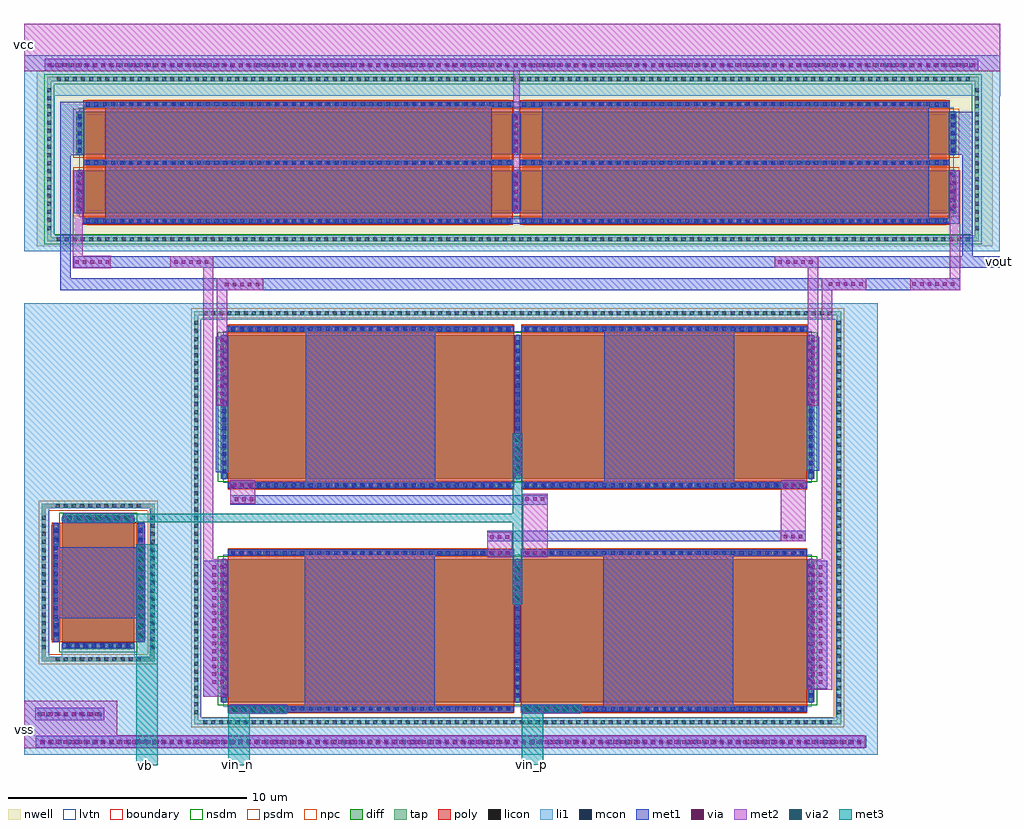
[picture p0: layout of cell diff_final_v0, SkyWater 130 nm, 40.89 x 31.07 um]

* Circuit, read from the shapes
.subckt diff_final_v0 vb vcc vin_n vin_p vout vss
XM1 n1 vb vss vss sky130_fd_pr__nfet_01v8 w=3 l=5
XM2 n1 vin_n vout vss sky130_fd_pr__nfet_01v8_lvt w=6 l=12 m=2
XM3 n1 vin_p n2 vss sky130_fd_pr__nfet_01v8_lvt w=6 l=12 m=2
XM4 vcc n2 vout vcc sky130_fd_pr__pfet_01v8_lvt w=1.8 l=18 m=2
XM5 vcc n2 n2 vcc sky130_fd_pr__pfet_01v8_lvt w=1.8 l=18 m=2
.ends

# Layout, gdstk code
from math import pi, radians
import gdstk
lib = gdstk.Library(unit=1e-6, precision=1e-09)
def R(c, l, rs):  # rectangles x0, y0, x1, y1
    for r in rs: c.add(gdstk.rectangle(r[:2], r[2:], *l))
def A(c, l, x, y, w, h, nx, ny, dx, dy):  # array of equal rectangles
    R(c, l, [(x+i*dx, y+j*dy, x+i*dx+w, y+j*dy+h) for i in range(nx) for j in range(ny)])
nwell = (64, 20)
diff = (65, 20)
tap = (65, 44)
poly = (66, 20)
licon = (66, 44)
li1 = (67, 20)
mcon = (67, 44)
met1 = (68, 20)
via = (68, 44)
met2 = (69, 20)
via2 = (69, 44)
met3 = (70, 20)
nsdm = (93, 44)
psdm = (94, 20)
npc = (95, 20)
lvtn = (125, 44)
boundary = (235, 4)

sky130_fd_pr__nfet_01v8_ = lib.new_cell('sky130_fd_pr__nfet_01v8_lvt_59CFV9')
R(sky130_fd_pr__nfet_01v8_, diff, [(-6.29,-3,6.29,3)])
R(sky130_fd_pr__nfet_01v8_, poly, [(-6,-3.44,6,3.44)])
A(sky130_fd_pr__nfet_01v8_, licon, -5.865, -3.36, 0.17, 0.17, 35, 2, 0.34, 6.55)
A(sky130_fd_pr__nfet_01v8_, licon, -6.23, -2.805, 0.17, 0.17, 1, 17, 0, 0.34)
A(sky130_fd_pr__nfet_01v8_, licon, 6.06, -2.805, 0.17, 0.17, 1, 17, 0, 0.34)
R(sky130_fd_pr__nfet_01v8_, li1, [(-6,-3.36,6,-3.19), (-6.23,-3.02,-6.06,3.02), (6.06,-3.02,6.23,3.02), (-6,3.19,6,3.36)])
A(sky130_fd_pr__nfet_01v8_, mcon, -5.845, -3.36, 0.17, 0.17, 33, 2, 0.36, 6.55)
A(sky130_fd_pr__nfet_01v8_, mcon, -6.23, -2.785, 0.17, 0.17, 1, 16, 0, 0.36)
A(sky130_fd_pr__nfet_01v8_, mcon, 6.06, -2.785, 0.17, 0.17, 1, 16, 0, 0.36)
R(sky130_fd_pr__nfet_01v8_, met1, [(-5.98,-3.39,5.98,-3.16), (-6.26,-3,-6.03,3), (6.03,-3,6.26,3), (-5.98,3.16,5.98,3.39)])
R(sky130_fd_pr__nfet_01v8_, nsdm, [(-6.415,-3.125,6.415,3.125)])
R(sky130_fd_pr__nfet_01v8_, npc, [(-5.965,-3.46,5.965,-3.09), (-5.965,3.09,5.965,3.46)])
R(sky130_fd_pr__nfet_01v8_, lvtn, [(-6.18,-3.18,6.18,3.18)])

sky130_fd_pr__pfet_01v8_ = lib.new_cell('sky130_fd_pr__pfet_01v8_lvt_58FN7G')
R(sky130_fd_pr__pfet_01v8_, nwell, [(-9.47,-1.4,9.47,1.4)])
R(sky130_fd_pr__pfet_01v8_, diff, [(-9.29,-0.9,9.29,0.9)])
R(sky130_fd_pr__pfet_01v8_, poly, [(-9,-1.385,9,1.385)])
A(sky130_fd_pr__pfet_01v8_, licon, -8.755, -1.305, 0.17, 0.17, 52, 2, 0.34, 2.44)
A(sky130_fd_pr__pfet_01v8_, licon, -9.23, -0.765, 0.17, 0.17, 1, 5, 0, 0.34)
A(sky130_fd_pr__pfet_01v8_, licon, 9.06, -0.765, 0.17, 0.17, 1, 5, 0, 0.34)
R(sky130_fd_pr__pfet_01v8_, li1, [(-9,-1.305,9,-1.135), (-9.23,-0.92,-9.06,0.92), (9.06,-0.92,9.23,0.92), (-9,1.135,9,1.305)])
A(sky130_fd_pr__pfet_01v8_, mcon, -8.905, -1.305, 0.17, 0.17, 50, 2, 0.36, 2.44)
A(sky130_fd_pr__pfet_01v8_, mcon, -9.23, -0.805, 0.17, 0.17, 1, 5, 0, 0.36)
A(sky130_fd_pr__pfet_01v8_, mcon, 9.06, -0.805, 0.17, 0.17, 1, 5, 0, 0.36)
R(sky130_fd_pr__pfet_01v8_, met1, [(-8.98,-1.335,8.98,-1.105), (-9.26,-0.9,-9.03,0.9), (9.03,-0.9,9.26,0.9), (-8.98,1.105,8.98,1.335)])
R(sky130_fd_pr__pfet_01v8_, psdm, [(-9.415,-1.025,9.415,1.025)])
R(sky130_fd_pr__pfet_01v8_, npc, [(-8.855,-1.405,8.855,-1.035), (-8.855,1.035,8.855,1.405)])
R(sky130_fd_pr__pfet_01v8_, lvtn, [(-9.18,-1.08,9.18,1.08)])

c_sky130_fd_pr__nfet_01v8_ = lib.new_cell('sky130_fd_pr__nfet_01v8_Q93DRV')
R(c_sky130_fd_pr__nfet_01v8_, diff, [(-2.79,-1.5,2.79,1.5)])
R(c_sky130_fd_pr__nfet_01v8_, tap, [(-3.3,-2.37,3.3,-2.2), (-3.3,-2.2,-3.13,2.2), (3.13,-2.2,3.3,2.2), (-3.3,2.2,3.3,2.37)])
R(c_sky130_fd_pr__nfet_01v8_, poly, [(-2.5,-1.94,2.5,1.94)])
A(c_sky130_fd_pr__nfet_01v8_, licon, -2.805, -2.37, 0.17, 0.17, 17, 2, 0.34, 4.57)
A(c_sky130_fd_pr__nfet_01v8_, licon, -2.295, -1.86, 0.17, 0.17, 14, 2, 0.34, 3.55)
A(c_sky130_fd_pr__nfet_01v8_, licon, -3.3, -1.785, 0.17, 0.17, 1, 11, 0, 0.34)
A(c_sky130_fd_pr__nfet_01v8_, licon, 3.13, -1.785, 0.17, 0.17, 1, 11, 0, 0.34)
A(c_sky130_fd_pr__nfet_01v8_, licon, -2.73, -1.275, 0.17, 0.17, 1, 8, 0, 0.34)
A(c_sky130_fd_pr__nfet_01v8_, licon, 2.56, -1.275, 0.17, 0.17, 1, 8, 0, 0.34)
R(c_sky130_fd_pr__nfet_01v8_, li1, [(-3.3,-2.37,3.3,-2.2), (-3.3,-2.2,-3.13,2.2), (3.13,-2.2,3.3,2.2), (-2.5,-1.86,2.5,-1.69), (-2.73,-1.52,-2.56,1.52), (2.56,-1.52,2.73,1.52), (-2.5,1.69,2.5,1.86), (-3.3,2.2,3.3,2.37)])
A(c_sky130_fd_pr__nfet_01v8_, mcon, -2.245, -1.86, 0.17, 0.17, 13, 2, 0.36, 3.55)
A(c_sky130_fd_pr__nfet_01v8_, mcon, -2.73, -1.345, 0.17, 0.17, 1, 8, 0, 0.36)
A(c_sky130_fd_pr__nfet_01v8_, mcon, 2.56, -1.345, 0.17, 0.17, 1, 8, 0, 0.36)
R(c_sky130_fd_pr__nfet_01v8_, met1, [(-2.48,-1.89,2.48,-1.66), (-2.76,-1.5,-2.53,1.5), (2.53,-1.5,2.76,1.5), (-2.48,1.66,2.48,1.89)])
R(c_sky130_fd_pr__nfet_01v8_, nsdm, [(-2.915,-1.625,2.915,1.625)])
R(c_sky130_fd_pr__nfet_01v8_, psdm, [(-3.425,-2.495,3.425,-2.075), (-3.425,-2.075,-3.005,2.075), (3.005,-2.075,3.425,2.075), (-3.425,2.075,3.425,2.495)])
R(c_sky130_fd_pr__nfet_01v8_, npc, [(-2.395,-1.96,2.395,-1.59), (-2.395,1.59,2.395,1.96)])
R(c_sky130_fd_pr__nfet_01v8_, boundary, [(-3.21,-2.28,3.21,2.28)])

diff_final_v0 = lib.new_cell('diff_final_v0')
R(diff_final_v0, nwell, [(55.505,7.585,95.555,14.96)])
R(diff_final_v0, tap, [(62.09,-12.44,89.195,-12.27), (62.09,-12.27,62.26,4.7), (89.025,-12.27,89.195,4.7), (62.09,4.7,89.195,4.87), (55.935,7.795,94.975,7.965), (55.935,7.965,56.105,14.505), (94.805,7.965,94.975,14.505), (55.935,14.505,94.975,14.675)])
R(diff_final_v0, poly, [(73.37,-11.94,74.105,-11.68)])
A(diff_final_v0, licon, 62.465, -12.44, 0.17, 0.17, 78, 2, 0.34, 17.14)
A(diff_final_v0, licon, 62.09, -12.03, 0.17, 0.17, 1, 49, 0, 0.34)
A(diff_final_v0, licon, 89.025, -12.03, 0.17, 0.17, 1, 49, 0, 0.34)
A(diff_final_v0, licon, 56.33, 7.795, 0.17, 0.17, 113, 2, 0.34, 6.71)
A(diff_final_v0, licon, 55.935, 8.26, 0.17, 0.17, 1, 18, 0, 0.34)
A(diff_final_v0, licon, 94.805, 8.26, 0.17, 0.17, 1, 18, 0, 0.34)
R(diff_final_v0, li1, [(54.965,-13.715,90.725,-12.165), (54.965,-12.165,62.36,-10.765), (88.975,-12.165,90.725,4.505), (54.975,-10.765,62.36,-9.615), (54.975,-9.615,56.03,-3.385), (56.555,-9.615,59.595,-9.205), (60.235,-9.615,62.36,-3.385), (54.975,-3.385,62.36,-3.2), (54.98,-3.2,62.36,4.505), (54.98,4.505,90.725,5.205), (54.975,7.38,95.85,8.045), (54.975,8.045,56.245,13.89), (94.805,8.045,95.85,13.89), (54.975,13.89,95.855,15.58)])
A(diff_final_v0, mcon, 55.665, -13.27, 0.17, 0.17, 96, 1, 0.36, 0)
A(diff_final_v0, mcon, 55.54, -12.105, 0.17, 0.17, 8, 1, 0.36, 0)
A(diff_final_v0, mcon, 56.045, 15.09, 0.17, 0.17, 108, 1, 0.36, 0)
R(diff_final_v0, met1, [(55.455,-13.435,90.245,-12.93), (55.445,-12.285,58.33,-11.755), (63.515,-11.94,75.475,-11.68), (75.815,-11.935,78.315,-11.675), (79.235,-11.685,84.67,-5.395), (66.735,-11.68,72.17,-5.39), (62.47,-11.29,63.525,-5.585), (87.75,-10.945,88.61,-5.585), (59.735,-8.985,60.03,-8.925), (59.675,-8.925,60.035,-8.005), (56.395,-8.005,60.035,-5.02), (75.465,-7.335,75.825,-5.74), (75.815,-5.395,87.755,-5.11), (63.525,-5.39,75.465,-5.105), (59.675,-5.02,60.035,-4.93), (59.735,-4.93,60.03,-4.025), (74.365,-4.78,87.71,-4.335), (56.585,-3.965,59.565,-3.69), (63.6,-3.245,76.915,-2.85), (63.55,-2.565,75.47,-2.28), (75.82,-2.565,87.76,-2.28), (66.76,-2.28,72.185,4.065), (79.28,-2.28,84.715,4.04), (75.47,-1.93,75.83,-0.335), (63,-1.88,63.53,3.79), (87.76,-1.815,88.29,3.79), (56.485,5.75,94.19,6.25), (56.485,6.25,56.915,11.405), (57.055,6.675,95.85,7.175), (94.28,7.175,94.71,11.415), (75.25,8.535,75.83,8.765), (93.71,8.535,94.14,10.77), (58.37,8.755,74.565,13.48), (76.68,8.755,92.875,13.48), (57.055,8.965,57.485,10.77), (75.41,9.03,75.78,10.71), (56.485,11.405,57.485,13.645), (93.7,11.415,94.71,13.215), (75.41,11.47,75.78,13.15), (75.37,13.415,75.95,13.645), (55.835,14.925,94.945,15.43)])
A(diff_final_v0, via, 55.655, -13.26, 0.15, 0.15, 108, 1, 0.32, 0)
A(diff_final_v0, via, 55.69, -12.095, 0.15, 0.15, 8, 1, 0.32, 0)
A(diff_final_v0, via, 63.74, -11.885, 0.15, 0.15, 7, 1, 0.32, 0)
A(diff_final_v0, via, 76.03, -11.88, 0.15, 0.15, 7, 1, 0.32, 0)
A(diff_final_v0, via, 62.86, -10.74, 0.15, 0.15, 1, 16, 0, 0.32)
A(diff_final_v0, via, 63.18, -10.74, 0.15, 0.15, 1, 16, 0, 0.32)
A(diff_final_v0, via, 87.945, -10.74, 0.15, 0.15, 1, 16, 0, 0.32)
A(diff_final_v0, via, 88.265, -10.74, 0.15, 0.15, 1, 16, 0, 0.32)
A(diff_final_v0, via, 59.78, -8.765, 0.15, 0.15, 1, 12, 0, 0.32)
A(diff_final_v0, via, 75.57, -7.255, 0.15, 0.15, 1, 5, 0, 0.32)
A(diff_final_v0, via, 75.995, -5.33, 0.15, 0.15, 3, 1, 0.32, 0)
A(diff_final_v0, via, 74.495, -5.325, 0.15, 0.15, 3, 2, 0.32, 0.66)
A(diff_final_v0, via, 86.79, -4.655, 0.15, 0.15, 3, 2, 0.32, 2.155)
A(diff_final_v0, via, 56.72, -3.905, 0.15, 0.15, 9, 1, 0.32, 0)
A(diff_final_v0, via, 63.785, -3.09, 0.15, 0.15, 3, 1, 0.32, 0)
A(diff_final_v0, via, 75.97, -3.085, 0.15, 0.15, 3, 1, 0.32, 0)
A(diff_final_v0, via, 63.73, -2.5, 0.15, 0.15, 3, 1, 0.32, 0)
A(diff_final_v0, via, 75.575, -1.85, 0.15, 0.15, 1, 5, 0, 0.32)
A(diff_final_v0, via, 63.19, 1.015, 0.15, 0.15, 1, 9, 0, 0.32)
A(diff_final_v0, via, 87.95, 1.015, 0.15, 0.15, 1, 9, 0, 0.32)
A(diff_final_v0, via, 63.385, 5.905, 0.15, 0.15, 5, 1, 0.32, 0)
A(diff_final_v0, via, 92.185, 5.92, 0.15, 0.15, 6, 1, 0.32, 0)
A(diff_final_v0, via, 88.67, 5.925, 0.15, 0.15, 5, 1, 0.32, 0)
A(diff_final_v0, via, 86.57, 6.84, 0.15, 0.15, 5, 1, 0.32, 0)
A(diff_final_v0, via, 57.11, 6.855, 0.15, 0.15, 5, 1, 0.32, 0)
A(diff_final_v0, via, 61.25, 6.855, 0.15, 0.15, 5, 1, 0.32, 0)
A(diff_final_v0, via, 75.52, 9.155, 0.15, 0.15, 1, 5, 0, 0.32)
A(diff_final_v0, via, 93.875, 9.21, 0.15, 0.15, 1, 4, 0, 0.32)
A(diff_final_v0, via, 57.17, 9.235, 0.15, 0.15, 1, 4, 0, 0.32)
A(diff_final_v0, via, 75.52, 11.595, 0.15, 0.15, 1, 5, 0, 0.32)
A(diff_final_v0, via, 55.955, 15.1, 0.15, 0.15, 122, 1, 0.32, 0)
R(diff_final_v0, met2, [(54.965,-13.455,90.185,-12.91), (54.965,-12.91,58.875,-11.455), (63.575,-12.005,65.975,-11.615), (75.865,-11.995,78.265,-11.605), (62.47,-11.29,63.485,-8.405), (87.8,-10.995,88.82,-5.535), (59.71,-8.975,60,-4.885), (62.47,-8.405,63.475,-5.535), (75.495,-7.435,75.785,-5.64), (62.47,-5.535,62.9,6.675), (88.39,-5.535,88.82,5.75), (75.865,-5.445,76.915,-2.79), (74.365,-5.44,75.415,-4.395), (59.725,-4.885,59.985,-4.88), (86.66,-4.77,87.71,-2.23), (56.635,-4.015,59.515,-3.59), (63.6,-3.205,64.65,-2.23), (75.5,-2.03,75.78,-0.22), (63.05,0.9,63.48,5.75), (87.81,0.9,88.24,6.675), (63.05,5.75,64.98,6.25), (88.39,5.75,90.26,6.25), (92.085,5.75,94.19,6.25), (93.76,6.25,94.19,10.77), (57.005,6.67,58.6,7.19), (61.095,6.675,62.9,7.175), (86.415,6.675,88.24,7.175), (57.005,7.19,57.435,10.77), (75.46,8.98,75.73,14.905), (54.975,14.905,95.855,16.905)])
A(diff_final_v0, via2, 63.675, -11.91, 0.2, 0.2, 6, 1, 0.4, 0)
A(diff_final_v0, via2, 75.965, -11.9, 0.2, 0.2, 6, 1, 0.4, 0)
A(diff_final_v0, via2, 59.755, -8.83, 0.2, 0.2, 1, 10, 0, 0.4)
A(diff_final_v0, via2, 75.54, -7.24, 0.2, 0.2, 1, 4, 0, 0.4)
A(diff_final_v0, via2, 56.775, -3.905, 0.2, 0.2, 7, 1, 0.4, 0)
A(diff_final_v0, via2, 75.54, -1.825, 0.2, 0.2, 1, 4, 0, 0.4)
R(diff_final_v0, met3, [(59.66,-14.16,60.56,-4.91), (63.525,-14.16,64.425,-11.98), (75.815,-14.14,76.715,-11.97), (63.525,-11.98,66.025,-11.64), (75.815,-11.97,78.315,-11.63), (75.445,-7.41,75.835,-3.99), (56.585,-3.99,75.835,-3.615), (75.445,-3.615,75.835,-0.245)])
R(diff_final_v0, nsdm, [(55.81,7.67,95.1,8.09), (55.81,8.09,56.23,14.38), (94.68,8.09,95.1,14.38), (55.81,14.38,95.1,14.8)])
R(diff_final_v0, psdm, [(61.965,-12.565,89.32,-12.145), (61.965,-12.145,62.385,4.575), (88.9,-12.145,89.32,4.575), (61.965,4.575,89.32,4.995)])
R(diff_final_v0, lvtn, [(57.27,10.95,93.92,11.23)])
diff_final_v0.add(gdstk.Reference(sky130_fd_pr__nfet_01v8_, (81.785,-8.525)))
diff_final_v0.add(gdstk.Reference(sky130_fd_pr__pfet_01v8_, (84.74,9.87)))
diff_final_v0.add(gdstk.Reference(sky130_fd_pr__pfet_01v8_, (66.45,12.31), x_reflection=True))
diff_final_v0.add(gdstk.Reference(sky130_fd_pr__pfet_01v8_, (66.45,9.87), x_reflection=True))
diff_final_v0.add(gdstk.Reference(c_sky130_fd_pr__nfet_01v8_, (58.075,-6.505), rotation=pi/2))
diff_final_v0.add(gdstk.Reference(sky130_fd_pr__nfet_01v8_, (69.495,-8.525)))
diff_final_v0.add(gdstk.Reference(sky130_fd_pr__nfet_01v8_, (69.5,0.85)))
diff_final_v0.add(gdstk.Reference(sky130_fd_pr__pfet_01v8_, (84.74,12.31)))
diff_final_v0.add(gdstk.Reference(sky130_fd_pr__nfet_01v8_, (81.79,0.85)))
diff_final_v0.add(gdstk.Label('vout', (95.845,6.94), layer=68, texttype=5))
diff_final_v0.add(gdstk.Label('vin_p', (76.235,-14.125), layer=70, texttype=5))
diff_final_v0.add(gdstk.Label('vin_n', (63.905,-14.145), layer=70, texttype=5))
diff_final_v0.add(gdstk.Label('vb', (60.07,-14.155), layer=70, texttype=5))
diff_final_v0.add(gdstk.Label('vcc', (54.98,16.015), layer=69, texttype=5))
diff_final_v0.add(gdstk.Label('vss', (54.97,-12.665), layer=69, texttype=5))

lib.write_gds('diff_final_v0.gds')
